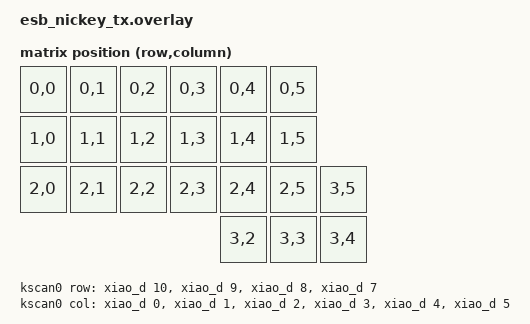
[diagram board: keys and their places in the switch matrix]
/*
 * ESB TX on the real Nickey left-half PCB.
 *
 * Matrix wiring copied from zmk-config-nickey (shield "nickey",
 * branch DYA-Studio-v2): rows D10/D9/D8/D7, cols D0-D5, col2row.
 * Only the left half is scanned: this firmware is a single XIAO
 * acting as the whole keyboard over the ESB link (no ZMK split).
 *
 * SPDX-License-Identifier: MIT
 */

#include <dt-bindings/zmk/matrix_transform.h>
#include <physical_layouts.dtsi>

/ {
    chosen {
        zmk,physical-layout = <&physical_layout0>;
    };

    kscan0: kscan {
        compatible = "zmk,kscan-gpio-matrix";
        debounce-press-ms = <10>;
        debounce-release-ms = <20>;
        diode-direction = "col2row";
        wakeup-source;

        row-gpios
            = <&xiao_d 10 (GPIO_ACTIVE_HIGH | GPIO_PULL_DOWN)>
            , <&xiao_d 9 (GPIO_ACTIVE_HIGH | GPIO_PULL_DOWN)>
            , <&xiao_d 8 (GPIO_ACTIVE_HIGH | GPIO_PULL_DOWN)>
            , <&xiao_d 7 (GPIO_ACTIVE_HIGH | GPIO_PULL_DOWN)>
            ;

        col-gpios
            = <&xiao_d 0 GPIO_ACTIVE_HIGH>
            , <&xiao_d 1 GPIO_ACTIVE_HIGH>
            , <&xiao_d 2 GPIO_ACTIVE_HIGH>
            , <&xiao_d 3 GPIO_ACTIVE_HIGH>
            , <&xiao_d 4 GPIO_ACTIVE_HIGH>
            , <&xiao_d 5 GPIO_ACTIVE_HIGH>
            ;
    };

    /* Left half of the Nickey transform: 4 rows x 6 cols, 22 keys.
     * The inner key is wired at matrix (3,5); thumbs at (3,2..4). */
    default_transform: matrix_transform {
        compatible = "zmk,matrix-transform";
        columns = <6>;
        rows = <4>;
        map = <
            RC(0,0) RC(0,1) RC(0,2) RC(0,3) RC(0,4) RC(0,5)
            RC(1,0) RC(1,1) RC(1,2) RC(1,3) RC(1,4) RC(1,5)
            RC(2,0) RC(2,1) RC(2,2) RC(2,3) RC(2,4) RC(2,5) RC(3,5)
                                            RC(3,2) RC(3,3) RC(3,4)
        >;
    };

    physical_layout0: physical_layout_0 {
        compatible = "zmk,physical-layout";
        display-name = "Nickey Left";
        kscan = <&kscan0>;
        transform = <&default_transform>;

        keys  //                     w   h    x    y     rot    rx    ry
            = <&key_physical_attrs 100 100    0    0       0     0     0>
            , <&key_physical_attrs 100 100  100    0       0     0     0>
            , <&key_physical_attrs 100 100  200    0       0     0     0>
            , <&key_physical_attrs 100 100  300    0       0     0     0>
            , <&key_physical_attrs 100 100  400    0       0     0     0>
            , <&key_physical_attrs 100 100  500    0       0     0     0>
            , <&key_physical_attrs 100 100    0  100       0     0     0>
            , <&key_physical_attrs 100 100  100  100       0     0     0>
            , <&key_physical_attrs 100 100  200  100       0     0     0>
            , <&key_physical_attrs 100 100  300  100       0     0     0>
            , <&key_physical_attrs 100 100  400  100       0     0     0>
            , <&key_physical_attrs 100 100  500  100       0     0     0>
            , <&key_physical_attrs 100 100    0  200       0     0     0>
            , <&key_physical_attrs 100 100  100  200       0     0     0>
            , <&key_physical_attrs 100 100  200  200       0     0     0>
            , <&key_physical_attrs 100 100  300  200       0     0     0>
            , <&key_physical_attrs 100 100  400  200       0     0     0>
            , <&key_physical_attrs 100 100  500  200       0     0     0>
            , <&key_physical_attrs 100 100  600  200       0     0     0>
            , <&key_physical_attrs 100 100  400  300       0     0     0>
            , <&key_physical_attrs 100 100  500  300       0     0     0>
            , <&key_physical_attrs 100 100  600  300       0     0     0>
            ;
    };
};
